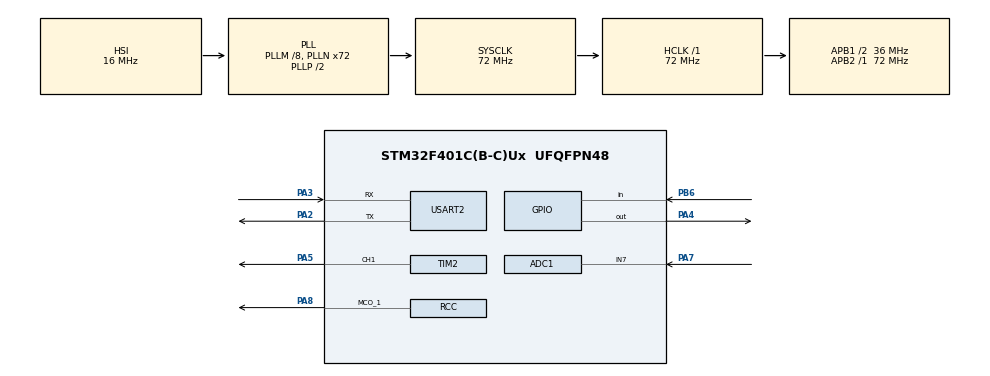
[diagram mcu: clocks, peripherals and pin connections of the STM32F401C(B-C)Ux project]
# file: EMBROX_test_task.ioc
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ADC1.Channel-0\#ChannelRegularConversion=ADC_CHANNEL_7
ADC1.NbrOfConversionFlag=1
ADC1.Rank-0\#ChannelRegularConversion=1
ADC1.SamplingTime-0\#ChannelRegularConversion=ADC_SAMPLETIME_3CYCLES
ADC1.master=1
FREERTOS.Tasks01=defaultTask,24,128,StartDefaultTask,Default,NULL,Dynamic,NULL,NULL;motorController,8,128,StartTaskMotorController,Default,NULL,Dynamic,NULL,NULL;UARTController,8,128,StartTaskUARTController,Default,NULL,Dynamic,NULL,NULL;buttonControlle,8,128,StartTaskButtonController,Default,NULL,Dynamic,NULL,NULL
FREERTOS.configUSE_NEWLIB_REENTRANT=1
Mcu.Family=STM32F4
Mcu.Name=STM32F401C(B-C)Ux
Mcu.Package=UFQFPN48
NVIC.ADC_IRQn=true\:5\:0\:false\:false\:true\:true\:true\:true\:true
NVIC.PriorityGroup=NVIC_PRIORITYGROUP_4
NVIC.TIM1_UP_TIM10_IRQn=true\:15\:0\:false\:false\:true\:false\:false\:true\:true
NVIC.TimeBase=TIM1_UP_TIM10_IRQn
NVIC.TimeBaseIP=TIM1
NVIC.USART2_IRQn=true\:5\:0\:false\:false\:true\:true\:true\:true\:true
PA2.Mode=Asynchronous
PA2.Signal=USART2_TX
PA3.Mode=Asynchronous
PA3.Signal=USART2_RX
PA4.Signal=GPIO_Output
PA5.Signal=S_TIM2_CH1_ETR
PA7.Signal=ADCx_IN7
PA8.Mode=Clock-out-1
PA8.Signal=RCC_MCO_1
PB6.Signal=GPIO_Input
PH0\ -\ OSC_IN.Mode=HSE-External-Oscillator
PH0\ -\ OSC_IN.Signal=RCC_OSC_IN
PH1\ -\ OSC_OUT.Mode=HSE-External-Oscillator
PH1\ -\ OSC_OUT.Signal=RCC_OSC_OUT
ProjectManager.HeapSize=0x200
ProjectManager.StackSize=0x400
ProjectManager.TargetToolchain=STM32CubeIDE
RCC.48MHZClocksFreq_Value=36000000
RCC.AHBFreq_Value=72000000
RCC.APB1CLKDivider=RCC_HCLK_DIV2
RCC.APB1Freq_Value=36000000
RCC.APB1TimFreq_Value=72000000
RCC.APB2Freq_Value=72000000
RCC.APB2TimFreq_Value=72000000
RCC.CortexFreq_Value=72000000
RCC.HCLKFreq_Value=72000000
RCC.HSE_VALUE=25000000
RCC.HSI_VALUE=16000000
RCC.LSE_VALUE=32768
RCC.PLLM=8
RCC.PLLN=72
RCC.SYSCLKFreq_VALUE=72000000
RCC.SYSCLKSource=RCC_SYSCLKSOURCE_PLLCLK
RCC.VCOOutputFreq_Value=144000000
SH.ADCx_IN7.0=ADC1_IN7,IN7
SH.S_TIM2_CH1_ETR.0=TIM2_CH1,PWM Generation1 CH1
TIM2.AutoReloadPreload=TIM_AUTORELOAD_PRELOAD_ENABLE
TIM2.Channel-PWM\ Generation1\ CH1=TIM_CHANNEL_1
TIM2.Period=4096
USART2.VirtualMode=VM_ASYNC
VP_FREERTOS_VS_CMSIS_V2.Mode=CMSIS_V2
VP_SYS_VS_tim1.Mode=TIM1
VP_TIM2_VS_ClockSourceINT.Mode=Internal
board=custom

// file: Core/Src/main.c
/* USER CODE BEGIN Header */
/**
  ******************************************************************************
  * @file           : main.c
  * @brief          : Main program body
  ******************************************************************************
  * @attention
  *
  * Copyright (c) 2023 STMicroelectronics.
  * All rights reserved.
  *
  * This software is licensed under terms that can be found in the LICENSE file
  * in the root directory of this software component.
  * If no LICENSE file comes with this software, it is provided AS-IS.
  *
  ******************************************************************************
  */
/* USER CODE END Header */
#include "main.h"
#include "cmsis_os.h"

/* USER CODE BEGIN PD */

#define direction_pin 		GPIO_PIN_4        // define for direction pin

/* USER CODE END PD */

ADC_HandleTypeDef hadc1;

TIM_HandleTypeDef htim2;

UART_HandleTypeDef huart2;

/* Definitions for defaultTask */
osThreadId_t defaultTaskHandle;
const osThreadAttr_t defaultTask_attributes = {
  .name = "defaultTask",
  .stack_size = 128 * 4,
  .priority = (osPriority_t) osPriorityNormal,
};
/* Definitions for motorController */
osThreadId_t motorControllerHandle;
const osThreadAttr_t motorController_attributes = {
  .name = "motorController",
  .stack_size = 128 * 4,
  .priority = (osPriority_t) osPriorityLow,
};
/* Definitions for UARTController */
osThreadId_t UARTControllerHandle;
const osThreadAttr_t UARTController_attributes = {
  .name = "UARTController",
  .stack_size = 128 * 4,
  .priority = (osPriority_t) osPriorityLow,
};
/* Definitions for buttonControlle */
osThreadId_t buttonControlleHandle;
const osThreadAttr_t buttonControlle_attributes = {
  .name = "buttonControlle",
  .stack_size = 128 * 4,
  .priority = (osPriority_t) osPriorityLow,
};

void SystemClock_Config(void);
static void MX_GPIO_Init(void);
static void MX_TIM2_Init(void);
static void MX_ADC1_Init(void);
static void MX_USART2_UART_Init(void);
void StartDefaultTask(void *argument);
void StartTaskMotorController(void *argument);
void StartTaskUARTController(void *argument);
void StartTaskButtonController(void *argument);

/* USER CODE BEGIN 0 */

GPIO_PinState buttonStatus;   // variable for button state
int32_t motorSpeed;           // current speed of motor(0-4096 pwm)
char speedFormat;             // "bool" variable for speed format

enum speedFormats {KM_PER_HOUR, MILES_PER_HOUR};

/* USER CODE END 0 */

int main(void)
{

  /* MCU Configuration--------------------------------------------------------*/

  /* Reset of all peripherals, Initializes the Flash interface and the Systick. */
  HAL_Init();

  /* Configure the system clock */
  SystemClock_Config();

  /* Initialize all configured peripherals */
  MX_GPIO_Init();
  MX_TIM2_Init();
  MX_ADC1_Init();
  MX_USART2_UART_Init();
  /* USER CODE BEGIN 2 */
  // create threads for tasks
  defaultTaskHandle 		= osThreadNew(StartDefaultTask, NULL, &defaultTask_attributes);
  motorControllerHandle 	= osThreadNew(StartTaskMotorController, NULL, &motorController_attributes);
  UARTControllerHandle 		= osThreadNew(StartTaskUARTController, NULL, &UARTController_attributes);
  buttonControlleHandle 		= osThreadNew(StartTaskButtonController, NULL, &buttonControlle_attributes);
  HAL_GPIO_WritePin(GPIOA, direction_pin, GPIO_PIN_SET);		// direction of motor

  /* USER CODE END 2 */

  /* Init scheduler */
  osKernelInitialize();
/* USER CODE BEGIN Header */
/**
  ******************************************************************************
  * @file           : main.c
  * @brief          : Main program body
  ******************************************************************************
  * @attention
  *
  * Copyright (c) 2023 STMicroelectronics.
  * All rights reserved.
  *
  * This software is licensed under terms that can be found in the LICENSE file
  * in the root directory of this software component.
  * If no LICENSE file comes with this software, it is provided AS-IS.
  *
  ******************************************************************************
  */
/* USER CODE END Header */

  /* Start scheduler */
  osKernelStart();

  /* We should never get here as control is now taken by the scheduler */
  /* Infinite loop */
  while (1)
  {

  }
}

void SystemClock_Config(void)
{
  RCC_OscInitTypeDef RCC_OscInitStruct = {0};
  RCC_ClkInitTypeDef RCC_ClkInitStruct = {0};

  /** Configure the main internal regulator output voltage
  */
  __HAL_RCC_PWR_CLK_ENABLE();
  __HAL_PWR_VOLTAGESCALING_CONFIG(PWR_REGULATOR_VOLTAGE_SCALE2);

  /** Initializes the RCC Oscillators according to the specified parameters
  * in the RCC_OscInitTypeDef structure.
  */
  RCC_OscInitStruct.OscillatorType = RCC_OSCILLATORTYPE_HSI;
  RCC_OscInitStruct.HSIState = RCC_HSI_ON;
  RCC_OscInitStruct.HSICalibrationValue = RCC_HSICALIBRATION_DEFAULT;
  RCC_OscInitStruct.PLL.PLLState = RCC_PLL_ON;
  RCC_OscInitStruct.PLL.PLLSource = RCC_PLLSOURCE_HSI;
  RCC_OscInitStruct.PLL.PLLM = 8;
  RCC_OscInitStruct.PLL.PLLN = 72;
  RCC_OscInitStruct.PLL.PLLP = RCC_PLLP_DIV2;
  RCC_OscInitStruct.PLL.PLLQ = 4;
  if (HAL_RCC_OscConfig(&RCC_OscInitStruct) != HAL_OK)
  {
    Error_Handler();
  }

  /** Initializes the CPU, AHB and APB buses clocks
  */
  RCC_ClkInitStruct.ClockType = RCC_CLOCKTYPE_HCLK|RCC_CLOCKTYPE_SYSCLK
                              |RCC_CLOCKTYPE_PCLK1|RCC_CLOCKTYPE_PCLK2;
  RCC_ClkInitStruct.SYSCLKSource = RCC_SYSCLKSOURCE_PLLCLK;
  RCC_ClkInitStruct.AHBCLKDivider = RCC_SYSCLK_DIV1;
  RCC_ClkInitStruct.APB1CLKDivider = RCC_HCLK_DIV2;
  RCC_ClkInitStruct.APB2CLKDivider = RCC_HCLK_DIV1;

  if (HAL_RCC_ClockConfig(&RCC_ClkInitStruct, FLASH_LATENCY_2) != HAL_OK)
  {
    Error_Handler();
  }
  HAL_RCC_MCOConfig(RCC_MCO1, RCC_MCO1SOURCE_HSI, RCC_MCODIV_1);
}

static void MX_ADC1_Init(void)
{

  ADC_ChannelConfTypeDef sConfig = {0};

  /** Configure the global features of the ADC (Clock, Resolution, Data Alignment and number of conversion)
  */
  hadc1.Instance = ADC1;
  hadc1.Init.ClockPrescaler = ADC_CLOCK_SYNC_PCLK_DIV2;
  hadc1.Init.Resolution = ADC_RESOLUTION_12B;
  hadc1.Init.ScanConvMode = DISABLE;
  hadc1.Init.ContinuousConvMode = DISABLE;
  hadc1.Init.DiscontinuousConvMode = DISABLE;
  hadc1.Init.ExternalTrigConvEdge = ADC_EXTERNALTRIGCONVEDGE_NONE;
  hadc1.Init.ExternalTrigConv = ADC_SOFTWARE_START;
  hadc1.Init.DataAlign = ADC_DATAALIGN_RIGHT;
  hadc1.Init.NbrOfConversion = 1;
  hadc1.Init.DMAContinuousRequests = DISABLE;
  hadc1.Init.EOCSelection = ADC_EOC_SINGLE_CONV;
  if (HAL_ADC_Init(&hadc1) != HAL_OK)
  {
    Error_Handler();
  }

  /** Configure for the selected ADC regular channel its corresponding rank in the sequencer and its sample time.
  */
  sConfig.Channel = ADC_CHANNEL_7;
  sConfig.Rank = 1;
  sConfig.SamplingTime = ADC_SAMPLETIME_3CYCLES;
  if (HAL_ADC_ConfigChannel(&hadc1, &sConfig) != HAL_OK)
  {
    Error_Handler();
  }

}

static void MX_TIM2_Init(void)
{

  TIM_ClockConfigTypeDef sClockSourceConfig = {0};
  TIM_MasterConfigTypeDef sMasterConfig = {0};
  TIM_OC_InitTypeDef sConfigOC = {0};

  htim2.Instance = TIM2;
  htim2.Init.Prescaler = 0;
  htim2.Init.CounterMode = TIM_COUNTERMODE_UP;
  htim2.Init.Period = 4096;
  htim2.Init.ClockDivision = TIM_CLOCKDIVISION_DIV1;
  htim2.Init.AutoReloadPreload = TIM_AUTORELOAD_PRELOAD_ENABLE;
  if (HAL_TIM_Base_Init(&htim2) != HAL_OK)
  {
    Error_Handler();
  }
  sClockSourceConfig.ClockSource = TIM_CLOCKSOURCE_INTERNAL;
  if (HAL_TIM_ConfigClockSource(&htim2, &sClockSourceConfig) != HAL_OK)
  {
    Error_Handler();
  }
  if (HAL_TIM_PWM_Init(&htim2) != HAL_OK)
  {
    Error_Handler();
  }
  sMasterConfig.MasterOutputTrigger = TIM_TRGO_RESET;
  sMasterConfig.MasterSlaveMode = TIM_MASTERSLAVEMODE_DISABLE;
  if (HAL_TIMEx_MasterConfigSynchronization(&htim2, &sMasterConfig) != HAL_OK)
  {
    Error_Handler();
  }
  sConfigOC.OCMode = TIM_OCMODE_PWM1;
  sConfigOC.Pulse = 0;
  sConfigOC.OCPolarity = TIM_OCPOLARITY_HIGH;
  sConfigOC.OCFastMode = TIM_OCFAST_DISABLE;
  if (HAL_TIM_PWM_ConfigChannel(&htim2, &sConfigOC, TIM_CHANNEL_1) != HAL_OK)
  {
    Error_Handler();
  }
  HAL_TIM_MspPostInit(&htim2);

}

static void MX_USART2_UART_Init(void)
{

  huart2.Instance = USART2;
  huart2.Init.BaudRate = 115200;
  huart2.Init.WordLength = UART_WORDLENGTH_8B;
  huart2.Init.StopBits = UART_STOPBITS_1;
  huart2.Init.Parity = UART_PARITY_NONE;
  huart2.Init.Mode = UART_MODE_TX_RX;
  huart2.Init.HwFlowCtl = UART_HWCONTROL_NONE;
  huart2.Init.OverSampling = UART_OVERSAMPLING_16;
  if (HAL_UART_Init(&huart2) != HAL_OK)
  {
    Error_Handler();
  }

}

static void MX_GPIO_Init(void)
{
  GPIO_InitTypeDef GPIO_InitStruct = {0};

  /* GPIO Ports Clock Enable */
  __HAL_RCC_GPIOH_CLK_ENABLE();
  __HAL_RCC_GPIOA_CLK_ENABLE();
  __HAL_RCC_GPIOB_CLK_ENABLE();

  /*Configure GPIO pin Output Level */
  HAL_GPIO_WritePin(GPIOA, GPIO_PIN_4, GPIO_PIN_RESET);

  /*Configure GPIO pin : PA4 */
  GPIO_InitStruct.Pin = GPIO_PIN_4;
  GPIO_InitStruct.Mode = GPIO_MODE_OUTPUT_PP;
  GPIO_InitStruct.Pull = GPIO_NOPULL;
  GPIO_InitStruct.Speed = GPIO_SPEED_FREQ_LOW;
  HAL_GPIO_Init(GPIOA, &GPIO_InitStruct);

  /*Configure GPIO pin : PA8 */
  GPIO_InitStruct.Pin = GPIO_PIN_8;
  GPIO_InitStruct.Mode = GPIO_MODE_AF_PP;
  GPIO_InitStruct.Pull = GPIO_NOPULL;
  GPIO_InitStruct.Speed = GPIO_SPEED_FREQ_LOW;
  GPIO_InitStruct.Alternate = GPIO_AF0_MCO;
  HAL_GPIO_Init(GPIOA, &GPIO_InitStruct);

  /*Configure GPIO pin : PB6 */
  GPIO_InitStruct.Pin = GPIO_PIN_6;
  GPIO_InitStruct.Mode = GPIO_MODE_INPUT;
  GPIO_InitStruct.Pull = GPIO_NOPULL;
  HAL_GPIO_Init(GPIOB, &GPIO_InitStruct);

}

/* USER CODE BEGIN 4 */

// function for mapping values from one range to another range
long map(long x, long in_min, long in_max, long out_min, long out_max)
{
  return (x - in_min) * (out_max - out_min) / (in_max - in_min) + out_min;
}
/* USER CODE END 4 */

void StartDefaultTask(void *argument)
{
  for(;;)
  {
    osDelay(1);
  }
}

void StartTaskMotorController(void *argument)
{
  /* USER CODE BEGIN StartTaskMotorController */
  /* Infinite loop */
	for(;;)
	{
		HAL_ADC_Start(&hadc1); // start the adc
		HAL_ADC_PollForConversion(&hadc1, 100); // poll for conversion

		uint16_t adc_val = HAL_ADC_GetValue(&hadc1); // get the adc value

		HAL_ADC_Stop(&hadc1); // stop adc
		if(buttonStatus == GPIO_PIN_SET){           // check is button pressed
		  if(adc_val >= motorSpeed) motorSpeed++;   // smooth change speed of motor
		  else motorSpeed--;
		}
		else{
		  motorSpeed--;
		  if(motorSpeed < 0) motorSpeed = 0;        // min value
		}
		TIM2->CCR1 = motorSpeed;                    // set pwm for motor speed
		HAL_TIM_PWM_Start(&htim2, TIM_CHANNEL_1);   // pwm start
		osDelay(1);                                 // some sleep)
	}
  /* USER CODE END StartTaskMotorController */
}

void StartTaskUARTController(void *argument)
{
  /* USER CODE BEGIN StartTaskUARTController */
  /* Infinite loop */
  uint8_t RX_data[1];             // buffer for receive from uart some data
  for(;;)
  {
    osDelay(1);
    HAL_StatusTypeDef status_receive = HAL_UART_Receive(&huart2, RX_data, 1, 100);        // receive data from uart and proccesing this data
                                                                                          //only if HAL_OK(it`s mean what we have some new data)
    if(status_receive == HAL_OK){
    	if(RX_data[0] == '0') speedFormat = MILES_PER_HOUR;                                 // check if this data is symbol "1" or "0"(ascii) and change speedformat beetwen mph and km/h
    	else if(RX_data[0] == '1') speedFormat = KM_PER_HOUR;
    	else;

    }
    char output_buffer[15];                                                               // buffer for info about speed
    memset(output_buffer, 0, sizeof(output_buffer));                                      // clean buffer
    if(speedFormat == KM_PER_HOUR) 				sprintf(output_buffer, "%d km/h\n\r", (int) (map(motorSpeed, 0, 4095, 0, 120)));     // formating data about speed with function sprint(from stdio.h)
    else if(speedFormat == MILES_PER_HOUR)		sprintf(output_buffer, "%d mph\n\r",  (int) (map(motorSpeed, 0, 4095, 0, 120) * 0.62) );
    HAL_UART_Transmit(&huart2,output_buffer,sizeof(output_buffer),10);                    // Send info
  }
  /* USER CODE END StartTaskUARTController */
}

void StartTaskButtonController(void *argument)
{
  /* USER CODE BEGIN StartTaskButtonController */
  /* Infinite loop */
	uint32_t timestamp_button_pressed; // var for save last button pressed time
	for(;;)
	{
		if(HAL_GPIO_ReadPin(GPIOB, GPIO_PIN_6) == GPIO_PIN_SET)       // Read pin value(is button pressed)
		{
			timestamp_button_pressed = HAL_GetTick();                   // Save time of pressed in ms for timeout
			osDelay(50);
			if(HAL_GPIO_ReadPin(GPIOB, GPIO_PIN_6) == GPIO_PIN_SET){    // if button stay pressed, turn on motor
				buttonStatus = GPIO_PIN_SET;                              // set value for global variable
			}
		}
		else{
			buttonStatus = GPIO_PIN_RESET;
		}

		osDelay(1);                                                   // sleep
	}
  /* USER CODE END StartTaskButtonController */
}

void HAL_TIM_PeriodElapsedCallback(TIM_HandleTypeDef *htim)
{
  if (htim->Instance == TIM1) {
    HAL_IncTick();
  }
}

void Error_Handler(void)
{
  __disable_irq();
  while (1)
  {
  }
}
